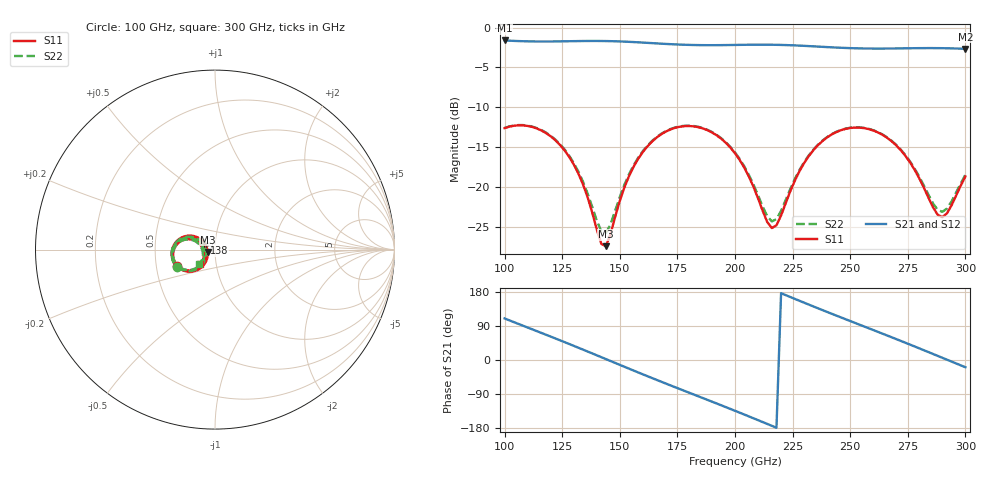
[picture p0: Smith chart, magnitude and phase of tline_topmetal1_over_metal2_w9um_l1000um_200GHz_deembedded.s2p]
! Created with skrf 2.2.0 (http://scikit-rf.org).
# GHz S DB R 50.0
! Port[1] = P1
! Port[2] = P2
!freq dBS11 angS11 dBS21 angS21 dBS12 angS12 dBS22 angS22
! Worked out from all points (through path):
!   101 points, 100 GHz to 300 GHz, reference 50 ohm
!   highest |S21| = -1.61 dB at 100 GHz (marker M1); lowest = -2.7 dB at 300 GHz (marker M2)
!   group delay of S21, straight-line fit = 6.79 ps
!   lowest |S11| = -27.4 dB at 144 GHz (marker M3), VSWR 1.09, Z = 46.1 - j1.21 ohm
!   |S11| at or under -10 dB: start of sweep to end of sweep
!   |S22| runs from -25.8 to -12.2 dB; largest |S21 - S12| = 1.4e-13
!   S11 on the Smith chart (normalised r, x): 100 GHz: 0.64, -0.13; 138 GHz: 0.89, +0.06; 300 GHz: 0.84, -0.14
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100  -12.62 -156.3  -1.61 109.6  -1.61 109.6  -12.58 -155.7
108  -12.27 -172.8  -1.70 90.5  -1.70 90.5  -12.23 -171.8
116  -12.91 171.1  -1.74 71.4  -1.74 71.4  -12.86 172.6
126  -15.40 152.8  -1.71 47.2  -1.71 47.2  -15.28 155.3
134  -19.65 144.1  -1.68 27.5  -1.68 27.5  -19.33 148.4
138  -23.19 148.3  -1.67 17.5  -1.67 17.5  -22.47 153.8
142  -27.16 174.2  -1.68 7.4  -1.68 7.4  -25.57 177.2
144  -27.44 -162.0  -1.68 2.3  -1.68 2.3  -25.78 -164.0
156  -17.45 -128.3  -1.81 -27.9  -1.81 -27.9  -17.27 -131.4
168  -13.38 -147.6  -2.01 -57.4  -2.01 -57.4  -13.32 -148.9
184  -12.49 -177.9  -2.19 -95.6  -2.19 -95.6  -12.44 -178.2
200  -15.77 155.4  -2.17 -134.0  -2.17 -134.0  -15.66 156.3
208  -19.97 151.5  -2.14 -153.7  -2.14 -153.7  -19.69 153.3
216  -25.16 -173.7  -2.15 -173.7  -2.15 -173.7  -24.33 -173.9
224  -20.54 -133.1  -2.21 166.2  -2.21 166.2  -20.25 -136.1
234  -15.39 -137.7  -2.35 141.4  -2.35 141.4  -15.32 -139.4
244  -13.11 -153.5  -2.50 117.2  -2.50 117.2  -13.07 -154.5
252  -12.55 -167.6  -2.59 98.1  -2.59 98.1  -12.51 -168.2
268  -14.26 165.7  -2.62 60.0  -2.62 60.0  -14.21 165.9
280  -18.93 156.2  -2.57 30.7  -2.57 30.7  -18.73 157.5
290  -23.79 -167.8  -2.58 5.8  -2.58 5.8  -23.12 -168.4
300  -18.69 -134.9  -2.66 -19.1  -2.66 -19.1  -18.47 -137.5
